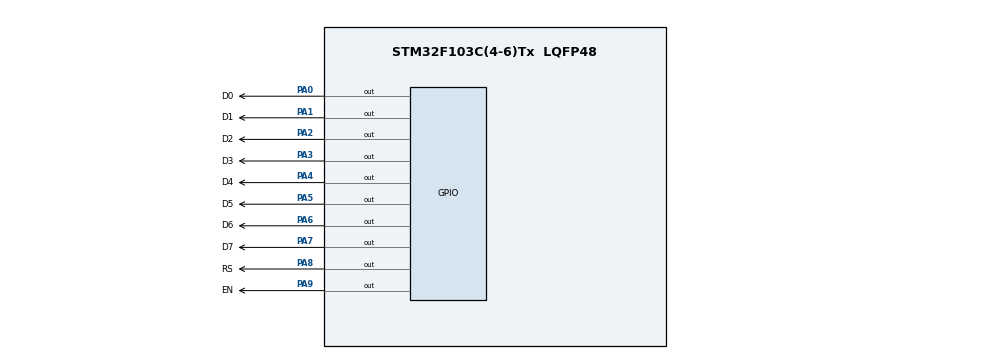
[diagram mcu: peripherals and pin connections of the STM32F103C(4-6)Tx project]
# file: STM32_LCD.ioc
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Mcu.Family=STM32F1
Mcu.Name=STM32F103C(4-6)Tx
Mcu.Package=LQFP48
NVIC.PriorityGroup=NVIC_PRIORITYGROUP_4
PA0-WKUP.GPIO_Label=D0
PA0-WKUP.Signal=GPIO_Output
PA1.GPIO_Label=D1
PA1.Signal=GPIO_Output
PA2.GPIO_Label=D2
PA2.Signal=GPIO_Output
PA3.GPIO_Label=D3
PA3.Signal=GPIO_Output
PA4.GPIO_Label=D4
PA4.Signal=GPIO_Output
PA5.GPIO_Label=D5
PA5.Signal=GPIO_Output
PA6.GPIO_Label=D6
PA6.Signal=GPIO_Output
PA7.GPIO_Label=D7
PA7.Signal=GPIO_Output
PA8.GPIO_Label=RS
PA8.Signal=GPIO_Output
PA9.GPIO_Label=EN
PA9.Signal=GPIO_Output
ProjectManager.HeapSize=0x200
ProjectManager.StackSize=0x400
ProjectManager.TargetToolchain=MDK-ARM V5
RCC.APB1Freq_Value=8000000
RCC.APB2Freq_Value=8000000
VP_SYS_VS_ND.Mode=No_Debug
board=custom

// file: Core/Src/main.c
/* USER CODE BEGIN Header */
/**
  ******************************************************************************
  * @file           : main.c
  * @brief          : Main program body
  ******************************************************************************
  * @attention
  *
  * <h2><center>&copy; Copyright (c) 2021 STMicroelectronics.
  * All rights reserved.</center></h2>
  *
  * This software component is licensed by ST under BSD 3-Clause license,
  * the "License"; You may not use this file except in compliance with the
  * License. You may obtain a copy of the License at:
  *                        opensource.org/licenses/BSD-3-Clause
  *
  ******************************************************************************
  */
/* USER CODE END Header */
#include "main.h"

/* USER CODE BEGIN Includes */
#include "CLCD.h"
#include <stdio.h>
/* USER CODE END Includes */

/* USER CODE BEGIN PV */
CLCD_Name LCD1;
uint8_t Count;
char LCD_sned[16];
/* USER CODE END PV */

void SystemClock_Config(void);
static void MX_GPIO_Init(void);

int main(void)
{

  /* MCU Configuration--------------------------------------------------------*/

  /* Reset of all peripherals, Initializes the Flash interface and the Systick. */
  HAL_Init();

  /* Configure the system clock */
  SystemClock_Config();

  /* Initialize all configured peripherals */
  MX_GPIO_Init();
  /* USER CODE BEGIN 2 */
	CLCD_8BIT_Init(&LCD1, 16, 2, RS_GPIO_Port, RS_Pin, EN_GPIO_Port, EN_Pin,
								D0_GPIO_Port, D0_Pin, D1_GPIO_Port, D1_Pin,
								D2_GPIO_Port, D2_Pin, D3_GPIO_Port, D3_Pin,
								D4_GPIO_Port, D4_Pin, D5_GPIO_Port, D5_Pin,
								D6_GPIO_Port, D6_Pin, D7_GPIO_Port, D7_Pin);

  /* USER CODE END 2 */

  /* Infinite loop */
  while (1)
  {

    /* USER CODE BEGIN 3 */
		CLCD_SetCursor(&LCD1, 0, 0);
		CLCD_WriteString(&LCD1, "Thiet ke HTN");
		sprintf(LCD_sned,"LCD dem: %d", Count);
		CLCD_SetCursor(&LCD1, 0,1);
		CLCD_WriteString(&LCD1, LCD_sned);
		Count++;
		HAL_Delay(1000);
  }
  /* USER CODE END 3 */
}

void SystemClock_Config(void)
{
  RCC_OscInitTypeDef RCC_OscInitStruct = {0};
  RCC_ClkInitTypeDef RCC_ClkInitStruct = {0};

  /** Initializes the RCC Oscillators according to the specified parameters
  * in the RCC_OscInitTypeDef structure.
  */
  RCC_OscInitStruct.OscillatorType = RCC_OSCILLATORTYPE_HSI;
  RCC_OscInitStruct.HSIState = RCC_HSI_ON;
  RCC_OscInitStruct.HSICalibrationValue = RCC_HSICALIBRATION_DEFAULT;
  RCC_OscInitStruct.PLL.PLLState = RCC_PLL_NONE;
  if (HAL_RCC_OscConfig(&RCC_OscInitStruct) != HAL_OK)
  {
    Error_Handler();
  }
  /** Initializes the CPU, AHB and APB buses clocks
  */
  RCC_ClkInitStruct.ClockType = RCC_CLOCKTYPE_HCLK|RCC_CLOCKTYPE_SYSCLK
                              |RCC_CLOCKTYPE_PCLK1|RCC_CLOCKTYPE_PCLK2;
  RCC_ClkInitStruct.SYSCLKSource = RCC_SYSCLKSOURCE_HSI;
  RCC_ClkInitStruct.AHBCLKDivider = RCC_SYSCLK_DIV1;
  RCC_ClkInitStruct.APB1CLKDivider = RCC_HCLK_DIV1;
  RCC_ClkInitStruct.APB2CLKDivider = RCC_HCLK_DIV1;

  if (HAL_RCC_ClockConfig(&RCC_ClkInitStruct, FLASH_LATENCY_0) != HAL_OK)
  {
    Error_Handler();
  }
}

static void MX_GPIO_Init(void)
{
  GPIO_InitTypeDef GPIO_InitStruct = {0};

  /* GPIO Ports Clock Enable */
  __HAL_RCC_GPIOA_CLK_ENABLE();

  /*Configure GPIO pin Output Level */
  HAL_GPIO_WritePin(GPIOA, D0_Pin|D1_Pin|D2_Pin|D3_Pin
                          |D4_Pin|D5_Pin|D6_Pin|D7_Pin
                          |RS_Pin|EN_Pin, GPIO_PIN_RESET);

  /*Configure GPIO pins : D0_Pin D1_Pin D2_Pin D3_Pin
                           D4_Pin D5_Pin D6_Pin D7_Pin
                           RS_Pin EN_Pin */
  GPIO_InitStruct.Pin = D0_Pin|D1_Pin|D2_Pin|D3_Pin
                          |D4_Pin|D5_Pin|D6_Pin|D7_Pin
                          |RS_Pin|EN_Pin;
  GPIO_InitStruct.Mode = GPIO_MODE_OUTPUT_PP;
  GPIO_InitStruct.Pull = GPIO_NOPULL;
  GPIO_InitStruct.Speed = GPIO_SPEED_FREQ_LOW;
  HAL_GPIO_Init(GPIOA, &GPIO_InitStruct);

}

void Error_Handler(void)
{
  __disable_irq();
  while (1)
  {
  }
}

/************************ (C) COPYRIGHT STMicroelectronics *****END OF FILE****/
